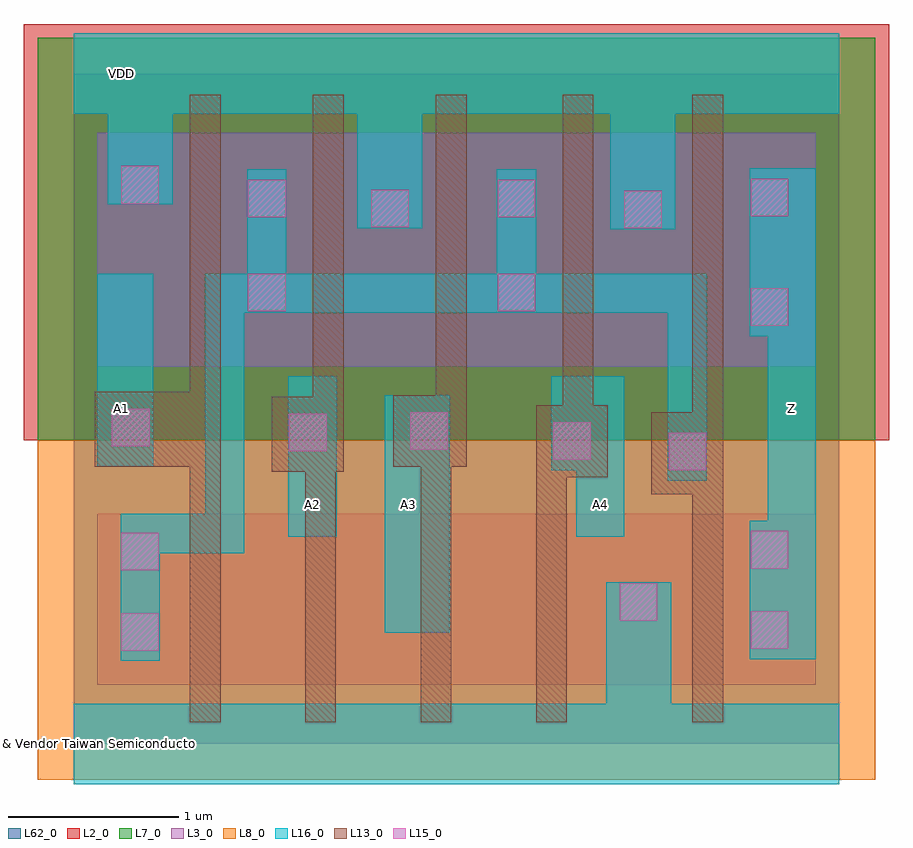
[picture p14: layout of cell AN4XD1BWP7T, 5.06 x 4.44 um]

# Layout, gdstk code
import gdstk
lib = gdstk.Library(unit=1e-6, precision=1e-09)
def R(c, l, rs):  # rectangles x0, y0, x1, y1
    for r in rs: c.add(gdstk.rectangle(r[:2], r[2:], *l))
def P(c, l, *ps):  # polygons
    for p in ps: c.add(gdstk.Polygon(p, *l))
L2_0 = (2, 0)
L3_0 = (3, 0)
L7_0 = (7, 0)
L8_0 = (8, 0)
L13_0 = (13, 0)
L15_0 = (15, 0)
L16_0 = (16, 0)
L62_0 = (62, 0)

an4xd1bwp7t = lib.new_cell('AN4XD1BWP7T')
R(an4xd1bwp7t, L2_0, [(-0.29,1.775,4.77,4.21)])
R(an4xd1bwp7t, L3_0, [(0.14,0.345,4.34,1.345), (0.14,2.205,4.34,3.575)])
R(an4xd1bwp7t, L7_0, [(-0.21,1.775,4.69,4.13)])
R(an4xd1bwp7t, L8_0, [(-0.21,-0.21,4.69,1.775)])
P(an4xd1bwp7t, L13_0, [(1.355,0.125),(1.355,1.59),(1.16,1.59),(1.16,2.03),(1.4,2.03),(1.4,3.795),(1.58,3.795),(1.58,1.59),(1.535,1.59),(1.535,0.125)],
  [(0.68,0.125),(0.68,1.62),(0.125,1.62),(0.125,2.06),(0.68,2.06),(0.68,3.795),(0.86,3.795),(0.86,0.125)],
  [(3.62,0.125),(3.62,1.46),(3.38,1.46),(3.38,1.94),(3.62,1.94),(3.62,3.795),(3.8,3.795),(3.8,0.125)],
  [(2.705,0.125),(2.705,1.98),(2.86,1.98),(2.86,3.795),(3.04,3.795),(3.04,1.98),(3.125,1.98),(3.125,1.56),(2.885,1.56),(2.885,0.125)],
  [(2.03,0.125),(2.03,1.62),(1.87,1.62),(1.87,2.04),(2.12,2.04),(2.12,3.795),(2.3,3.795),(2.3,1.62),(2.21,1.62),(2.21,0.125)])
R(an4xd1bwp7t, L15_0, [(0.28,0.545,0.5,0.765), (3.96,0.555,4.18,0.775), (3.195,0.72,3.415,0.94), (0.28,1.015,0.5,1.235), (3.96,1.025,4.18,1.245), (3.48,1.6,3.7,1.82), (2.805,1.66,3.025,1.88), (1.26,1.71,1.48,1.93), (1.97,1.72,2.19,1.94), (0.225,1.74,0.445,1.96), (3.96,2.445,4.18,2.665), (1.02,2.53,1.24,2.75), (2.48,2.53,2.7,2.75), (3.22,3.015,3.44,3.235), (1.74,3.02,1.96,3.24), (1.02,3.08,1.24,3.3), (2.48,3.08,2.7,3.3), (3.96,3.085,4.18,3.305), (0.28,3.16,0.5,3.38)])
R(an4xd1bwp7t, L16_0, [(1.82,0.65,2.2,2.04), (1.255,1.21,1.54,2.15), (0.14,1.62,0.465,2.75)])
P(an4xd1bwp7t, L16_0, [(0,-0.235),(0,0.235),(3.115,0.235),(3.115,0.945),(3.495,0.945),(3.495,0.235),(4.48,0.235),(4.48,-0.235)],
  [(3.14,3.01),(3.14,3.685),(2.04,3.685),(2.04,3.015),(1.66,3.015),(1.66,3.685),(0.58,3.685),(0.58,3.155),(0.2,3.155),(0.2,3.685),(0,3.685),(0,4.155),(4.48,4.155),(4.48,3.685),(3.52,3.685),(3.52,3.01)],
  [(3.955,0.495),(3.955,1.305),(4.06,1.305),(4.06,2.385),(3.955,2.385),(3.955,3.365),(4.34,3.365),(4.34,0.495)],
  [(0.275,0.485),(0.275,1.345),(0.77,1.345),(0.77,2.75),(1.015,2.75),(1.015,3.36),(1.245,3.36),(1.245,2.75),(2.475,2.75),(2.475,3.36),(2.705,3.36),(2.705,2.75),(3.705,2.75),(3.705,1.54),(3.475,1.54),(3.475,2.52),(1,2.52),(1,1.115),(0.505,1.115),(0.505,0.485)],
  [(2.94,1.21),(2.94,1.6),(2.795,1.6),(2.795,2.15),(3.22,2.15),(3.22,1.21)])
R(an4xd1bwp7t, L62_0, [(0,0,4.48,3.92)])
an4xd1bwp7t.add(gdstk.Label('& Vendor Taiwan Semiconductor Manufacturing Corp.', (0,0), layer=63, texttype=63))
an4xd1bwp7t.add(gdstk.Label('& Product tcb018gbwp7t', (0,0), layer=63, texttype=63))
an4xd1bwp7t.add(gdstk.Label('& Version 270a', (0,0), layer=63, texttype=63))
an4xd1bwp7t.add(gdstk.Label('& Metric 17.562', (0,0), layer=63, texttype=63))
an4xd1bwp7t.add(gdstk.Label('& Distributor TSMC', (0,0), layer=63, texttype=63))
an4xd1bwp7t.add(gdstk.Label('& SerialNumber 000000', (0,0), layer=63, texttype=63))
an4xd1bwp7t.add(gdstk.Label('& _Instance_tag AN4XD1BWP7T', (0,0), layer=63, texttype=63))
an4xd1bwp7t.add(gdstk.Label('& Vendor Taiwan Semiconductor Manufacturing Corp.', (0,0), layer=11, texttype=0))
an4xd1bwp7t.add(gdstk.Label('& Product tcb018gbwp7t', (0,0), layer=11, texttype=0))
an4xd1bwp7t.add(gdstk.Label('& Version 270a', (0,0), layer=11, texttype=0))
an4xd1bwp7t.add(gdstk.Label('& Metric 17.562', (0,0), layer=11, texttype=0))
an4xd1bwp7t.add(gdstk.Label('& Distributor TSMC', (0,0), layer=11, texttype=0))
an4xd1bwp7t.add(gdstk.Label('& SerialNumber 000000', (0,0), layer=11, texttype=0))
an4xd1bwp7t.add(gdstk.Label('& _Instance_tag AN4XD1BWP7T', (0,0), layer=11, texttype=0))
an4xd1bwp7t.add(gdstk.Label('AN4XD1BWP7T', (0,0), layer=59, texttype=0))
an4xd1bwp7t.add(gdstk.Label('VSS', (0.28,0), layer=40, texttype=0))
an4xd1bwp7t.add(gdstk.Label('VDD', (0.28,3.92), layer=40, texttype=0))
an4xd1bwp7t.add(gdstk.Label('A2', (1.4,1.4), layer=40, texttype=0))
an4xd1bwp7t.add(gdstk.Label('A3', (1.96,1.4), layer=40, texttype=0))
an4xd1bwp7t.add(gdstk.Label('A4', (3.08,1.4), layer=40, texttype=0))
an4xd1bwp7t.add(gdstk.Label('Z', (4.2,1.96), layer=40, texttype=0))
an4xd1bwp7t.add(gdstk.Label('A1', (0.28,1.96), layer=40, texttype=0))

lib.write_gds('AN4XD1BWP7T.gds')
